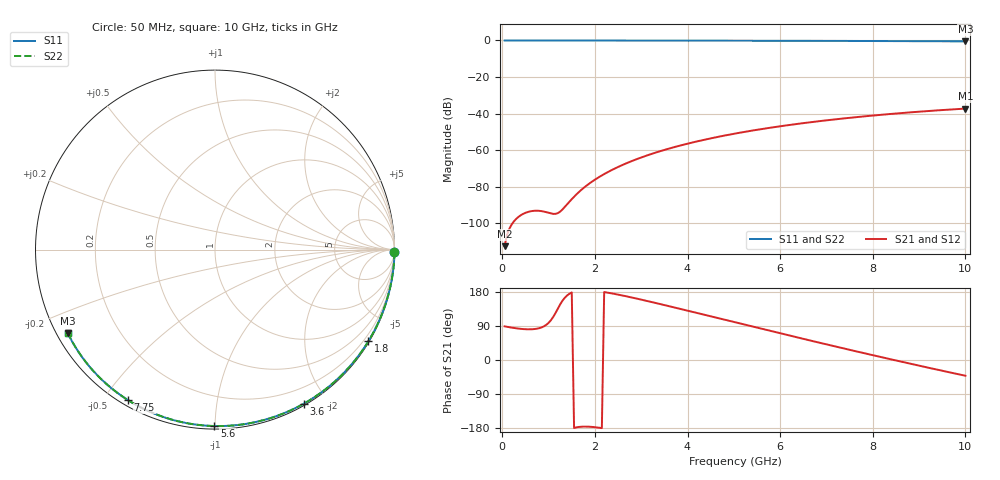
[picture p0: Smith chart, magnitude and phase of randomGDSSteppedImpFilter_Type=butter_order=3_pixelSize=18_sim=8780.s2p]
! freq	dB(S11)	phase(S11)	dB(S12)	phase(S12)
!  dB(S21)	phase(S21)	dB(S22)	phase(S22)
!S-par simulation data
#  GHz  S  DB  R 50
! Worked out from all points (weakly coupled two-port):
!   200 points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, 50 MHz to 10 GHz, reference 50 ohm
!   highest |S21| = -37.27 dB at 10 GHz (marker M1); lowest = -112.5 dB at 50 MHz (marker M2)
!   lowest |S11| = -0.5 dB at 10 GHz (marker M3), VSWR 34.36, Z = 1.56 - j13.2 ohm
!   |S11| at or under -10 dB: nowhere
!   |S22| runs from -0.5 to 0.0 dB; largest |S21 - S12| = 0
!   S11 on the Smith chart (normalised r, x): 50 MHz: open; 1.8 GHz: 0.03, -3.63; 3.6 GHz: 0.02, -1.73; 5.6 GHz: 0.02, -1.00; 7.75 GHz: 0.02, -0.58; 10 GHz: 0.03, -0.26
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0.05  -0.00 -0.9  -112.51 88.8  -112.51 88.8  -0.00 -0.9
0.45  -0.01 -7.8  -94.85 81.6  -94.85 81.6  -0.01 -7.8
0.9  -0.02 -15.6  -93.60 88.9  -93.60 88.9  -0.02 -15.6
1.3  -0.03 -22.4  -92.42 156.5  -92.42 156.5  -0.03 -22.4
1.75  -0.04 -30.0  -80.78 -175.8  -80.78 -175.8  -0.04 -30.0
1.8  -0.04 -30.8  -79.76 -175.7  -79.76 -175.7  -0.04 -30.8
1.95  -0.04 -33.3  -76.98 -176.7  -76.98 -176.7  -0.04 -33.3
2.1  -0.05 -35.8  -74.55 -178.8  -74.55 -178.8  -0.05 -35.8
2.3  -0.05 -39.1  -71.70 177.2  -71.70 177.2  -0.05 -39.1
2.5  -0.05 -42.4  -69.19 172.6  -69.19 172.6  -0.05 -42.4
2.9  -0.06 -48.9  -64.94 162.1  -64.94 162.1  -0.06 -48.9
3.4  -0.08 -56.9  -60.63 147.9  -60.63 147.9  -0.08 -56.9
3.6  -0.08 -60.1  -59.13 142.1  -59.13 142.1  -0.08 -60.1
4.3  -0.10 -70.9  -54.66 121.2  -54.66 121.2  -0.10 -70.9
5.05  -0.13 -82.2  -50.82 98.7  -50.82 98.7  -0.13 -82.1
5.6  -0.15 -90.2  -48.46 82.3  -48.46 82.3  -0.15 -90.2
6.15  -0.17 -98.0  -46.40 66.0  -46.40 66.0  -0.17 -98.0
6.7  -0.20 -105.7  -44.58 49.9  -44.58 49.9  -0.20 -105.7
7.75  -0.28 -120.1  -41.67 19.8  -41.67 19.8  -0.28 -120.1
8.35  -0.33 -128.1  -40.28 2.9  -40.28 2.9  -0.33 -128.1
9.2  -0.41 -139.5  -38.58 -20.3  -38.58 -20.3  -0.41 -139.5
10  -0.51 -150.4  -37.27 -41.6  -37.27 -41.6  -0.51 -150.4
